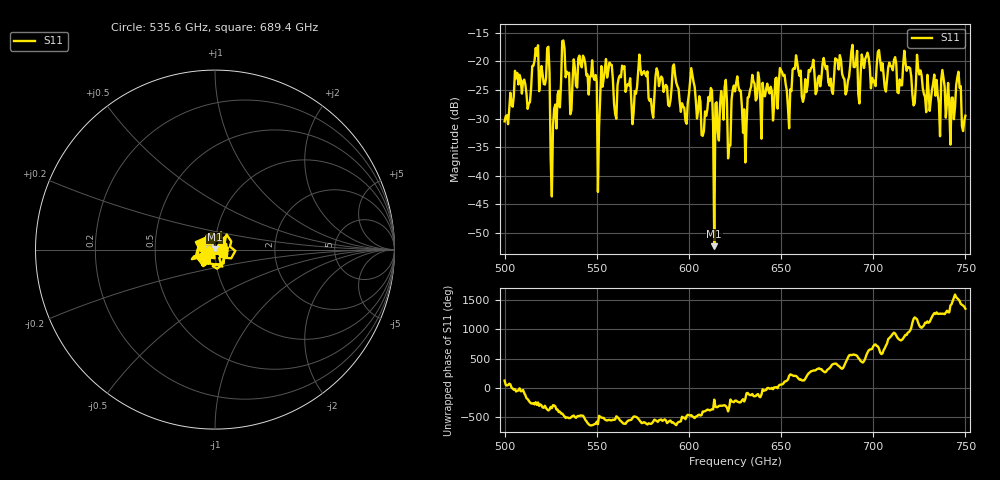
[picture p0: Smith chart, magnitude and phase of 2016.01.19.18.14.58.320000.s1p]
!Created with skrf (http://scikit-rf.org).
# GHz S RI R 50.0
!freq ReS11 ImS11
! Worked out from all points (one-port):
!   401 points, 500 GHz to 750 GHz, reference 50 ohm
!   lowest |S11| = -52.3 dB at 613.8 GHz (marker M1), VSWR 1.00, Z = 49.8 + j0.119 ohm
!   |S11| at or under -10 dB: start of sweep to end of sweep
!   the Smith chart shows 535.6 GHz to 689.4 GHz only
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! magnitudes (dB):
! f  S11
! 500 GHz  -30.5
! 506.9 GHz  -22.0
! 513.1 GHz  -27.4
! 516.9 GHz  -17.7
! 523.1 GHz  -17.7
! 526.2 GHz  -31.3
! 531.2 GHz  -16.5
! 548.8 GHz  -23.2
! 550.6 GHz  -42.8
! 553.8 GHz  -23.1
! 562.5 GHz  -22.5
! 593.8 GHz  -24.3
! 598.1 GHz  -30.4
! 601.9 GHz  -22.3
! 608.1 GHz  -32.2
! 611.2 GHz  -26.9
! 613.8 GHz  -52.3
! 618.8 GHz  -30.2
! 622.5 GHz  -34.7
! 625 GHz  -25.2
! 630 GHz  -28.4
! 634.4 GHz  -22.4
! 656.2 GHz  -21.5
! 687.5 GHz  -20.7
! 718.8 GHz  -21.0
! 742.5 GHz  -26.3
! 746.2 GHz  -21.8
! 750 GHz  -29.5
